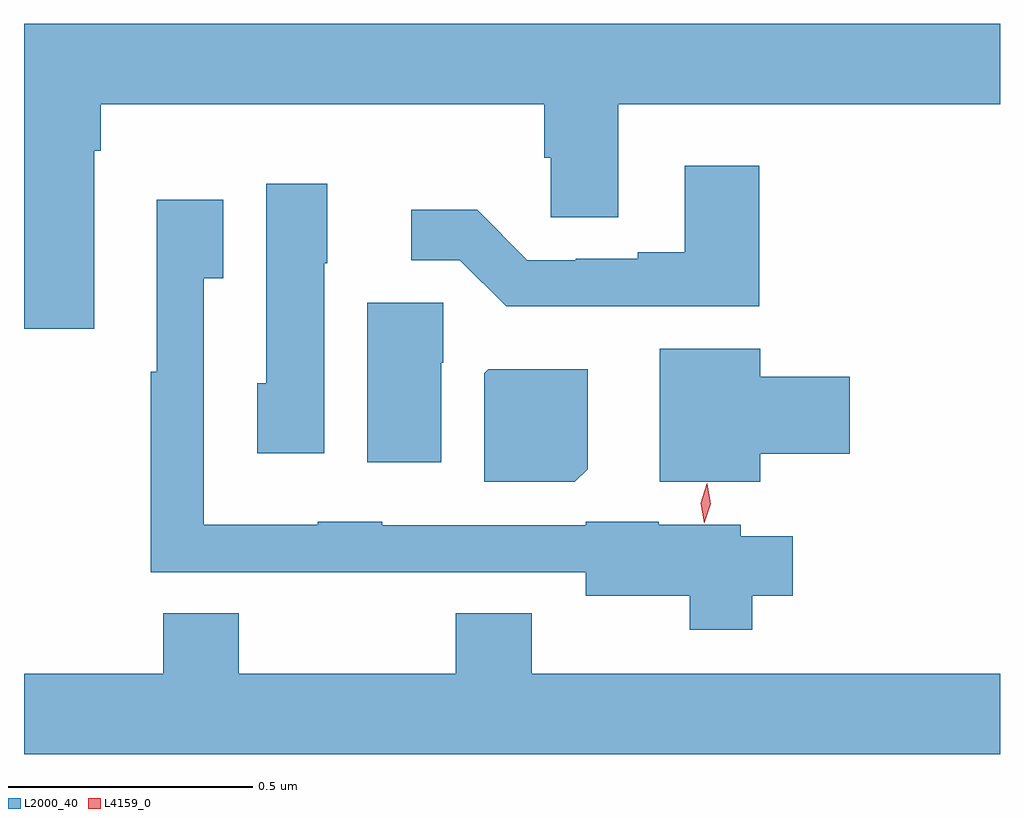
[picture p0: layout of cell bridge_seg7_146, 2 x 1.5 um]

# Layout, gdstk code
import gdstk
lib = gdstk.Library(unit=1e-6, precision=1e-09)
def P(c, l, *ps):  # polygons
    for p in ps: c.add(gdstk.Polygon(p, *l))
L2000_40 = (2000, 40)
L4159_0 = (4159, 0)

bridge_seg7_146 = lib.new_cell('bridge_seg7_146')
P(bridge_seg7_146, L2000_40, [(716.899,1020.5),(716.912,1020.5),(716.912,1020.596),(717.821,1020.596),(717.821,1020.486),(717.834,1020.486),(717.834,1020.364),(717.973,1020.364),(717.973,1020.596),(718.755,1020.596),(718.755,1020.76),(716.755,1020.76),(716.755,1020.135),(716.899,1020.135)],
  [(718.262,1020.469),(718.109,1020.469),(718.109,1020.292),(718.013,1020.292),(718.013,1020.279),(717.886,1020.279),(717.886,1020.276),(717.786,1020.276),(717.684,1020.379),(717.549,1020.379),(717.549,1020.276),(717.648,1020.276),(717.743,1020.182),(718.262,1020.182)],
  [(717.37,1020.27),(717.376,1020.27),(717.376,1020.433),(717.251,1020.433),(717.251,1020.024),(717.233,1020.024),(717.233,1019.88),(717.37,1019.88)],
  [(718.247,1019.588),(718.33,1019.588),(718.33,1019.71),(718.224,1019.71),(718.224,1019.734),(718.056,1019.734),(718.056,1019.74),(717.906,1019.74),(717.906,1019.733),(717.489,1019.733),(717.489,1019.74),(717.357,1019.74),(717.357,1019.734),(717.123,1019.734),(717.123,1020.239),(717.163,1020.239),(717.163,1020.4),(717.027,1020.4),(717.027,1020.047),(717.015,1020.047),(717.015,1019.637),(717.257,1019.637),(717.257,1019.636),(717.489,1019.636),(717.489,1019.637),(717.906,1019.637),(717.906,1019.588),(718.119,1019.588),(718.119,1019.519),(718.247,1019.519)],
  [(717.61,1020.066),(717.614,1020.066),(717.614,1020.189),(717.458,1020.189),(717.458,1019.862),(717.61,1019.862)],
  [(718.264,1019.879),(718.447,1019.879),(718.447,1020.037),(718.264,1020.037),(718.264,1020.094),(718.058,1020.094),(718.058,1019.822),(718.264,1019.822)],
  [(717.91,1019.848),(717.91,1020.052),(717.706,1020.052),(717.698,1020.044),(717.698,1019.822),(717.884,1019.822)],
  [(718.755,1019.428),(717.795,1019.428),(717.795,1019.552),(717.64,1019.552),(717.64,1019.428),(717.195,1019.428),(717.195,1019.552),(717.04,1019.552),(717.04,1019.428),(716.755,1019.428),(716.755,1019.264),(718.755,1019.264)])
P(bridge_seg7_146, L4159_0, [(718.149,1019.737),(718.149,1019.737),(718.142,1019.778),(718.154,1019.818),(718.155,1019.819),(718.155,1019.818),(718.162,1019.777),(718.149,1019.737)])

lib.write_gds('bridge_seg7_146.gds')
